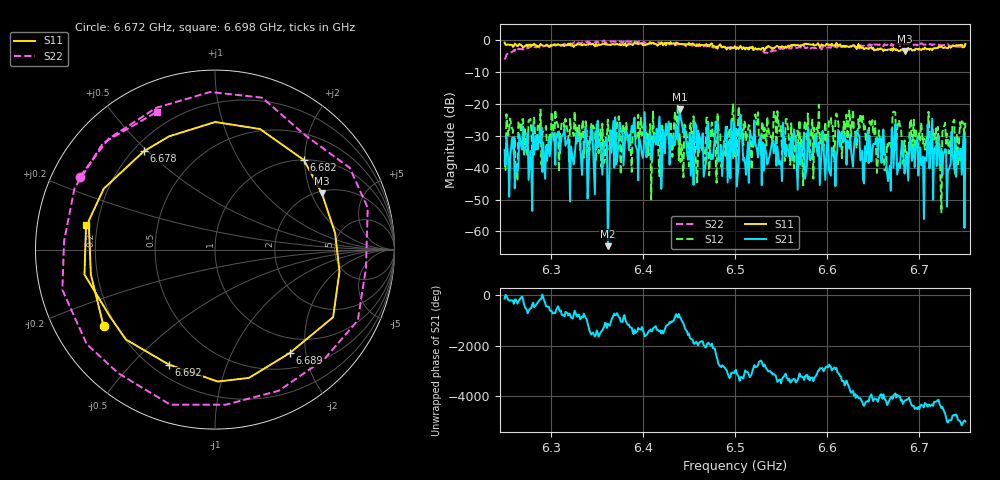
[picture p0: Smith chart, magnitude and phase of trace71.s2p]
# Hz S RI R 50
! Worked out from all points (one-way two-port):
!   401 points, 6.25 GHz to 6.75 GHz, reference 50 ohm
!   highest |S21| = -21.68 dB at 6.44 GHz (marker M1); lowest = -64.6 dB at 6.362 GHz (marker M2)
!   lowest |S11| = -3.4 dB at 6.684 GHz (marker M3), VSWR 5.12, Z = 104 + j120 ohm
!   |S11| at or under -10 dB: nowhere
!   |S22| runs from -6.0 to 0.0 dB; largest |S21 - S12| = 0.13
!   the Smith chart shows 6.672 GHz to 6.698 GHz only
!   S11 on the Smith chart (normalised r, x): 6.672 GHz: 0.15, -0.30; 6.678 GHz: 0.24, +0.49; 6.682 GHz: 1.00, +1.98; 6.689 GHz: 0.74, -1.72; 6.692 GHz: 0.26, -0.64; 6.698 GHz: 0.16, +0.09
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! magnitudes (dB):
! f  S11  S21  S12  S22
! 6.25 GHz  -0.7  -34.5  -37.4  -6.0
! 6.255 GHz  -1.4  -49.1  -28.1  -3.8
! 6.261 GHz  -1.1  -46.5  -30.4  -3.3
! 6.268 GHz  -1.5  -33.3  -28.9  -2.7
! 6.334 GHz  -1.6  -42.3  -27.1  -0.6
! 6.362 GHz  -1.4  -64.6  -24.9  -0.4
! 6.389 GHz  -1.5  -28.5  -27.1  -0.4
! 6.418 GHz  -1.1  -23.9  -42.7  -0.7
! 6.44 GHz  -1.2  -21.7  -29.5  -1.6
! 6.452 GHz  -1.3  -42.5  -26.0  -1.5
! 6.5 GHz  -1.9  -34.6  -36.4  -2.1
! 6.584 GHz  -1.4  -35.0  -24.6  -2.3
! 6.659 GHz  -2.7  -38.5  -37.3  -1.6
! 6.668 GHz  -2.9  -39.4  -31.6  -2.0
! 6.672 GHz  -2.5  -40.0  -22.4  -1.4
! 6.678 GHz  -3.4  -38.5  -25.0  -1.0
! 6.682 GHz  -3.1  -31.9  -38.7  -1.4
! 6.684 GHz  -3.4  -41.8  -31.4  -1.0
! 6.689 GHz  -3.0  -33.8  -31.4  -0.9
! 6.692 GHz  -3.2  -37.9  -34.8  -1.1
! 6.698 GHz  -2.7  -30.2  -34.4  -1.6
! 6.75 GHz  -1.1  -31.0  -25.8  -1.8
